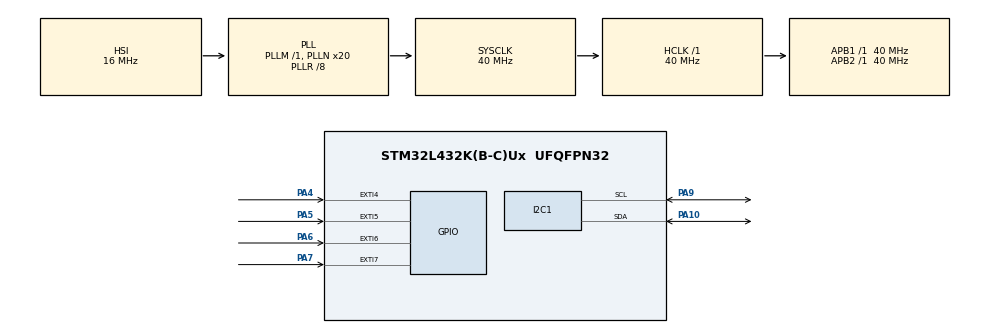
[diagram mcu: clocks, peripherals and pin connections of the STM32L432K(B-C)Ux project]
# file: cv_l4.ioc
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I2C1.Timing=0x00909BEB
Mcu.Family=STM32L4
Mcu.Name=STM32L432K(B-C)Ux
Mcu.Package=UFQFPN32
NVIC.EXTI4_IRQn=true\:0\:0\:false\:false\:true\:true\:true\:true
NVIC.EXTI9_5_IRQn=true\:0\:0\:false\:false\:true\:true\:true\:true
NVIC.PriorityGroup=NVIC_PRIORITYGROUP_4
PA0.Mode=HSE-External-Clock-Source-for-LittleOrca
PA0.Signal=RCC_CK_IN
PA10.Mode=I2C
PA10.Signal=I2C1_SDA
PA13\ (JTMS-SWDIO).Mode=Serial_Wire
PA13\ (JTMS-SWDIO).Signal=SYS_JTMS-SWDIO
PA14\ (JTCK-SWCLK).Mode=Serial_Wire
PA14\ (JTCK-SWCLK).Signal=SYS_JTCK-SWCLK
PA4.GPIO_ModeDefaultEXTI=GPIO_MODE_IT_FALLING
PA4.GPIO_PuPd=GPIO_PULLUP
PA4.Signal=GPXTI4
PA5.GPIO_ModeDefaultEXTI=GPIO_MODE_IT_FALLING
PA5.GPIO_PuPd=GPIO_PULLUP
PA5.Signal=GPXTI5
PA6.GPIO_ModeDefaultEXTI=GPIO_MODE_IT_FALLING
PA6.GPIO_PuPd=GPIO_PULLUP
PA6.Signal=GPXTI6
PA7.GPIO_ModeDefaultEXTI=GPIO_MODE_IT_FALLING
PA7.GPIO_PuPd=GPIO_PULLUP
PA7.Signal=GPXTI7
PA9.Mode=I2C
PA9.Signal=I2C1_SCL
ProjectManager.HeapSize=0x200
ProjectManager.StackSize=0x400
ProjectManager.TargetToolchain=STM32CubeIDE
RCC.ADCFreq_Value=64000000
RCC.AHBFreq_Value=40000000
RCC.APB1Freq_Value=40000000
RCC.APB1TimFreq_Value=40000000
RCC.APB2Freq_Value=40000000
RCC.APB2TimFreq_Value=40000000
RCC.CortexFreq_Value=40000000
RCC.HCLKFreq_Value=40000000
RCC.HSE_VALUE=8000000
RCC.HSI48_VALUE=48000000
RCC.HSI_VALUE=16000000
RCC.LSE_VALUE=32768
RCC.MSI_VALUE=4000000
RCC.PLLN=20
RCC.PLLR=RCC_PLLR_DIV8
RCC.PLLSourceVirtual=RCC_PLLSOURCE_HSI
RCC.SYSCLKFreq_VALUE=40000000
RCC.SYSCLKSource=RCC_SYSCLKSOURCE_PLLCLK
RCC.USBFreq_Value=64000000
RCC.VCOOutputFreq_Value=320000000
board=custom

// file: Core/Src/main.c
/* USER CODE BEGIN Header */
/**
 ******************************************************************************
 * @file           : main.c
 * @brief          : Main program body
 ******************************************************************************
 * @attention
 *
 * Copyright (c) 2023 STMicroelectronics.
 * All rights reserved.
 *
 * This software is licensed under terms that can be found in the LICENSE file
 * in the root directory of this software component.
 * If no LICENSE file comes with this software, it is provided AS-IS.
 *
 ******************************************************************************
 */
/* USER CODE END Header */
#include "main.h"

/* USER CODE BEGIN Includes */
#include "ssd1306.h"
#include "string.h"
/* USER CODE END Includes */

/* USER CODE BEGIN PM */
#define line(x) 8+8*(x)
#define MAX_LENGTH 20

//write in the middle
#define MIDDLE(x) (SSD1306_WIDTH/2)-(strlen(x)*6/2)

#define MIDDLE_TITLE(x) (SSD1306_WIDTH/2)-(strlen(x)*7/2)

//write from the end
#define END(x) SSD1306_WIDTH-(strlen(x)*6)

#define STATES \
		ENTITY(Idle,Idle_Function)\
		ENTITY(Start_Screen,Start_Screen_Function)\
		ENTITY(Main_Screen,Main_Screen_Function)\
		ENTITY(Coordinates_Screen,Coordinates_Screen_Function)\
		ENTITY(Skills_Screen,Skills_Screen_Function)\
		ENTITY(Languaes_Screen,Languaes_Screen_Function)\
		ENTITY(Projects_Screen,Projects_Screen_Function)\
		ENTITY(Diplomas_Screen,Diplomas_Screen_Function)\
		ENTITY(ProfessionalExperience_Screen,ProfessionalExperience_Screen_Function)

//write 2 words
#define PRINT2(l,a,b)\
		ssd1306_SetCursor(5,line(l));\
		ret=ssd1306_WriteString(a, Font_6x8, White);\
		ssd1306_SetCursor(END(b)-5,line(l));\
		ret=ssd1306_WriteString(b, Font_6x8, White);

//write 3 words
#define PRINT3(l,a,b,c)\
		ssd1306_SetCursor(0,line(l));\
		ret=ssd1306_WriteString(a, Font_6x8, White);\
		ssd1306_SetCursor(MIDDLE(b),line(l));\
		ret=ssd1306_WriteString(b, Font_6x8, White);\
		ssd1306_SetCursor(END(c),line(l));\
		ret=ssd1306_WriteString(c, Font_6x8, White);

/* USER CODE END PM */

I2C_HandleTypeDef hi2c1;

/* USER CODE BEGIN PV */
char str[]="";
char ret;

typedef enum{
#define ENTITY(x,y) x,
	STATES
#undef ENTITY
}States;

States Current_State=Idle;
uint8_t Number_of_states=0;
int8_t Choice=1;
/* USER CODE END PV */

void SystemClock_Config(void);
static void MX_GPIO_Init(void);
static void MX_I2C1_Init(void);
/* USER CODE BEGIN PFP */
void Idle_Function(void);
void Start_Screen_Function(void);
void Main_Screen_Function(void);
void Coordinates_Screen_Function(void);
void Skills_Screen_Function(void);
void Languaes_Screen_Function(void);
void Projects_Screen_Function(void);
void Diplomas_Screen_Function(void);
void ProfessionalExperience_Screen_Function(void);

/* USER CODE END PFP */

int main(void)
{

	/* MCU Configuration--------------------------------------------------------*/

	/* Reset of all peripherals, Initializes the Flash interface and the Systick. */
	HAL_Init();

	/* Configure the system clock */
	SystemClock_Config();

	/* Initialize all configured peripherals */
	MX_GPIO_Init();
	MX_I2C1_Init();
	/* USER CODE BEGIN 2 */
	ssd1306_Init();

#define ENTITY(x,y)  Number_of_states++;
	STATES
#undef ENTITY

	switch (Current_State){
#define ENTITY(x,y) case(x): { \
		y(); \
		if(HAL_GPIO_ReadPin(GPIOC,GPIO_PIN_13)==1) \
		Current_State=(Current_State+1)%Number_of_states; \
}\
break;
	STATES
#undef ENTITY
	default : {
		ssd1306_Fill(White);
		ssd1306_UpdateScreen();
	}
	}
	/* USER CODE END 2 */

	/* Infinite loop */
	/* USER CODE BEGIN WHILE */
	while (1)
	{switch (Current_State){
#define ENTITY(x,y) case(x): { \
		y(); \
}\
break;
	STATES
#undef ENTITY
	default : {
		ssd1306_Fill(White);
		ssd1306_UpdateScreen();
	}
	}
	/* USER CODE END WHILE */

	}
}

void SystemClock_Config(void)
{
	RCC_OscInitTypeDef RCC_OscInitStruct = {0};
	RCC_ClkInitTypeDef RCC_ClkInitStruct = {0};

	/** Configure the main internal regulator output voltage
	 */
	if (HAL_PWREx_ControlVoltageScaling(PWR_REGULATOR_VOLTAGE_SCALE1) != HAL_OK)
	{
		Error_Handler();
	}

	/** Initializes the RCC Oscillators according to the specified parameters
	 * in the RCC_OscInitTypeDef structure.
	 */
	RCC_OscInitStruct.OscillatorType = RCC_OSCILLATORTYPE_HSI;
	RCC_OscInitStruct.HSIState = RCC_HSI_ON;
	RCC_OscInitStruct.HSICalibrationValue = RCC_HSICALIBRATION_DEFAULT;
	RCC_OscInitStruct.PLL.PLLState = RCC_PLL_ON;
	RCC_OscInitStruct.PLL.PLLSource = RCC_PLLSOURCE_HSI;
	RCC_OscInitStruct.PLL.PLLM = 1;
	RCC_OscInitStruct.PLL.PLLN = 20;
	RCC_OscInitStruct.PLL.PLLP = RCC_PLLP_DIV7;
	RCC_OscInitStruct.PLL.PLLQ = RCC_PLLQ_DIV2;
	RCC_OscInitStruct.PLL.PLLR = RCC_PLLR_DIV8;
	if (HAL_RCC_OscConfig(&RCC_OscInitStruct) != HAL_OK)
	{
		Error_Handler();
	}

	/** Initializes the CPU, AHB and APB buses clocks
	 */
	RCC_ClkInitStruct.ClockType = RCC_CLOCKTYPE_HCLK|RCC_CLOCKTYPE_SYSCLK
			|RCC_CLOCKTYPE_PCLK1|RCC_CLOCKTYPE_PCLK2;
	RCC_ClkInitStruct.SYSCLKSource = RCC_SYSCLKSOURCE_PLLCLK;
	RCC_ClkInitStruct.AHBCLKDivider = RCC_SYSCLK_DIV1;
	RCC_ClkInitStruct.APB1CLKDivider = RCC_HCLK_DIV1;
	RCC_ClkInitStruct.APB2CLKDivider = RCC_HCLK_DIV1;

	if (HAL_RCC_ClockConfig(&RCC_ClkInitStruct, FLASH_LATENCY_2) != HAL_OK)
	{
		Error_Handler();
	}
}

static void MX_I2C1_Init(void)
{

	hi2c1.Instance = I2C1;
	hi2c1.Init.Timing = 0x00909BEB;
	hi2c1.Init.OwnAddress1 = 0;
	hi2c1.Init.AddressingMode = I2C_ADDRESSINGMODE_7BIT;
	hi2c1.Init.DualAddressMode = I2C_DUALADDRESS_DISABLE;
	hi2c1.Init.OwnAddress2 = 0;
	hi2c1.Init.OwnAddress2Masks = I2C_OA2_NOMASK;
	hi2c1.Init.GeneralCallMode = I2C_GENERALCALL_DISABLE;
	hi2c1.Init.NoStretchMode = I2C_NOSTRETCH_DISABLE;
	if (HAL_I2C_Init(&hi2c1) != HAL_OK)
	{
		Error_Handler();
	}

	/** Configure Analogue filter
	 */
	if (HAL_I2CEx_ConfigAnalogFilter(&hi2c1, I2C_ANALOGFILTER_ENABLE) != HAL_OK)
	{
		Error_Handler();
	}

	/** Configure Digital filter
	 */
	if (HAL_I2CEx_ConfigDigitalFilter(&hi2c1, 0) != HAL_OK)
	{
		Error_Handler();
	}

}

static void MX_GPIO_Init(void)
{
	GPIO_InitTypeDef GPIO_InitStruct = {0};

	/* GPIO Ports Clock Enable */
	__HAL_RCC_GPIOA_CLK_ENABLE();

	/*Configure GPIO pins : PA4 PA5 PA6 PA7 */
	GPIO_InitStruct.Pin = GPIO_PIN_4|GPIO_PIN_5|GPIO_PIN_6|GPIO_PIN_7;
	GPIO_InitStruct.Mode = GPIO_MODE_IT_FALLING;
	GPIO_InitStruct.Pull = GPIO_PULLUP;
	HAL_GPIO_Init(GPIOA, &GPIO_InitStruct);

	/* EXTI interrupt init*/
	HAL_NVIC_SetPriority(EXTI4_IRQn, 0, 0);
	HAL_NVIC_EnableIRQ(EXTI4_IRQn);

	HAL_NVIC_SetPriority(EXTI9_5_IRQn, 0, 0);
	HAL_NVIC_EnableIRQ(EXTI9_5_IRQn);

}

/* USER CODE BEGIN 4 */
void Idle_Function(void)
{
	ssd1306_Fill(White);
	ssd1306_UpdateScreen();
}

void Start_Screen_Function(void)
{
	ssd1306_Fill(Black);
	//------------Title---------------//
	ssd1306_SetCursor(MIDDLE_TITLE("Med Taher Bazzazi"),0);
	ret=ssd1306_WriteString("Med Taher Bazzazi", Font_7x10, White);
	//------------body---------------//
	ssd1306_SetCursor(MIDDLE("Bonjouur"),line(1));
	ret=ssd1306_WriteString("Bonjouur", Font_6x8, White);
	ssd1306_SetCursor(MIDDLE("C'est mon CV"),line(2));
	ret=ssd1306_WriteString("C'est mon CV", Font_6x8, White);
	ssd1306_SetCursor(MIDDLE("j'espere que"),line(3));
	ret=ssd1306_WriteString("j'espere que", Font_6x8, White);
	ssd1306_SetCursor(MIDDLE("vous l'aimez"),line(4));
	ret=ssd1306_WriteString("vous l'aimez", Font_6x8, White);
	ssd1306_SetCursor(END(":)"),line(5));
	ret=ssd1306_WriteString(":)", Font_6x8, White);
	ssd1306_UpdateScreen();
}

void Main_Screen_Function(void){
	ssd1306_Fill(Black);
	//------------Title---------------//
	ssd1306_SetCursor(MIDDLE_TITLE("Menu principale"),0);
	ret=ssd1306_WriteString("Menu principale", Font_7x10, White);
	//------------body---------------//
	ssd1306_SetCursor(7,line(1));
	ret=ssd1306_WriteString("Coordonnees", Font_6x8, White);
	ssd1306_SetCursor(7,line(2));
	ret=ssd1306_WriteString("Competences", Font_6x8, White);
	ssd1306_SetCursor(7,line(3));
	ret=ssd1306_WriteString("Langues", Font_6x8, White);
	ssd1306_SetCursor(7,line(4));
	ret=ssd1306_WriteString("Projets", Font_6x8, White);
	ssd1306_SetCursor(7,line(5));
	ret=ssd1306_WriteString("Formation", Font_6x8, White);
	ssd1306_SetCursor(7,line(6));
	ret=ssd1306_WriteString("Experience Pro.", Font_6x8, White);

	ssd1306_SetCursor(0,line(Choice));
	ret=ssd1306_WriteString("-", Font_6x8, White);
	ssd1306_UpdateScreen();
}
void Coordinates_Screen_Function(void)
{
	ssd1306_Fill(Black);
	//------------Title---------------//
	ssd1306_SetCursor(MIDDLE_TITLE("Coordonnees"),0);
	ret=ssd1306_WriteString("Coordonnees", Font_7x10, White);
	//------------body---------------//
	ssd1306_SetCursor(0,line(1));
	ret=ssd1306_WriteString("taher.bazzazi@ieeeorg", Font_6x8, White);
	ssd1306_SetCursor(0,line(2));
	ret=ssd1306_WriteString("LinkedIn:mohamed-tahe", Font_6x8, White);
	ssd1306_SetCursor(MIDDLE("r-bazzazi-408395204"),line(3));
	ret=ssd1306_WriteString("r-bazzazi-408395204", Font_6x8, White);
	ssd1306_SetCursor(MIDDLE("Nancy (54000)"),line(4));
	ret=ssd1306_WriteString("Nancy (54000)", Font_6x8, White);
	ssd1306_SetCursor(MIDDLE("+33 7 57 67 96 07"),line(5));
	ret=ssd1306_WriteString("+33 7 57 67 96 07", Font_6x8, White);
	ssd1306_SetCursor(MIDDLE("22/04/1999"),line(6));
	ret=ssd1306_WriteString("22/04/1999", Font_6x8, White);

	ssd1306_UpdateScreen();
}
void Skills_Screen_Function(void){
	ssd1306_Fill(Black);
	//------------Title---------------//
	ssd1306_SetCursor(MIDDLE_TITLE("Competences"),0);
	ret=ssd1306_WriteString("Competences", Font_7x10, White);
	//------------body---------------//

	PRINT3(1,"C","C++","VHDL");

	PRINT3(4,"Jave","Python","Rust");

	PRINT2(2,"STM32","RaspberryPi");

	ssd1306_SetCursor(MIDDLE("Arduino"),line(3));
	ret=ssd1306_WriteString("Arduino", Font_6x8, White);

	PRINT2(5,"Matlab","Simulink");

	ssd1306_SetCursor(MIDDLE("Git/Github"),line(6));
	ret=ssd1306_WriteString("Git/Github", Font_6x8, White);

	ssd1306_UpdateScreen();
}
void Languaes_Screen_Function(void){
	ssd1306_Fill(Black);
	//------------Title---------------//
	ssd1306_SetCursor(MIDDLE_TITLE("Langues"),0);
	ret=ssd1306_WriteString("Langues", Font_7x10, White);
	//------------body---------------//
	ssd1306_SetCursor(MIDDLE("Francais"),line(2));
	ret=ssd1306_WriteString("Francais", Font_6x8, White);
	ssd1306_SetCursor(MIDDLE("Anglais"),line(3));
	ret=ssd1306_WriteString("Anglais", Font_6x8, White);
	ssd1306_SetCursor(MIDDLE("Arabe"),line(4));
	ret=ssd1306_WriteString("Arabe", Font_6x8, White);
	ssd1306_SetCursor(MIDDLE("Allemand"),line(5));
	ret=ssd1306_WriteString("Allemand", Font_6x8, White);

	ssd1306_UpdateScreen();
}
void Projects_Screen_Function(void){
	ssd1306_Fill(Black);
	//------------Title---------------//
	ssd1306_SetCursor(MIDDLE_TITLE("Projets"),0);
	ret=ssd1306_WriteString("Projets", Font_7x10, White);
	//------------body---------------//
	ssd1306_SetCursor(7,line(1));
	ret=ssd1306_WriteString("EUROBOT", Font_6x8, White);
	ssd1306_SetCursor(7,line(2));
	ret=ssd1306_WriteString("Systeme VTOL", Font_6x8, White);
	ssd1306_SetCursor(7,line(3));
	ret=ssd1306_WriteString("Twizzy", Font_6x8, White);
	ssd1306_SetCursor(7,line(4));
	ret=ssd1306_WriteString("Bras Robotique", Font_6x8, White);
	ssd1306_SetCursor(7,line(5));
	ret=ssd1306_WriteString("Not Zedla", Font_6x8, White);
	ssd1306_SetCursor(7,line(6));
	ret=ssd1306_WriteString("Ce projet :)", Font_6x8, White);

	ssd1306_UpdateScreen();
}

void Diplomas_Screen_Function(void)
{
	ssd1306_Fill(Black);
	//------------Title---------------//
	ssd1306_SetCursor(MIDDLE_TITLE("Formation"),0);
	ret=ssd1306_WriteString("Formation", Font_7x10, White);
	//------------body---------------//
	ssd1306_SetCursor(MIDDLE("ENSEM Nancy: Ing."),line(1));
	ret=ssd1306_WriteString("ENSEM Nancy: Ing.", Font_6x8, White);
	ssd1306_SetCursor(0,line(2));
	ret=ssd1306_WriteString("en Sys. Numeriques", Font_6x8, White);
	ssd1306_SetCursor(MIDDLE("INSAT Tunis: Ing."),line(3));
	ret=ssd1306_WriteString("INSAT Tunis: Ing.", Font_6x8, White);
	ssd1306_SetCursor(0,line(4));
	ret=ssd1306_WriteString("Info Indus. & Auto", Font_6x8, White);
	ssd1306_SetCursor(MIDDLE("INSAT Tunis: Prep."),line(5));
	ret=ssd1306_WriteString("INSAT Tunis: Prep.", Font_6x8, White);
	ssd1306_SetCursor(0,line(6));
	ret=ssd1306_WriteString("Math. Phy. Info.", Font_6x8, White);

	ssd1306_UpdateScreen();
}
void ProfessionalExperience_Screen_Function(void)
{
	ssd1306_Fill(Black);
	//------------Title---------------//
	ssd1306_SetCursor(MIDDLE_TITLE("Experience Pro."),0);
	ret=ssd1306_WriteString("Experience Pro.", Font_7x10, White);
	//------------body---------------//
	ssd1306_SetCursor(MIDDLE("STAGE EN GS2I"),line(1));
	ret=ssd1306_WriteString("STAGE EN GS2I", Font_6x8, White);

	PRINT2(2,"S7-1200","Modbus");

	PRINT2(3,"TIA Portal","Python");

	ssd1306_SetCursor(MIDDLE("RaspberyPi"),line(4));
	ret=ssd1306_WriteString("RaspberyPi", Font_6x8, White);

	ssd1306_SetCursor(MIDDLE("STAGE EN SGEA"),line(5));
	ret=ssd1306_WriteString("STAGE EN SGEA", Font_6x8, White);

	PRINT2(6,"Automate","Indus.");

	ssd1306_UpdateScreen();
}

void HAL_GPIO_EXTI_Callback(uint16_t GPIO_Pin){
	//if (HAL_GPIO_ReadPin(GPIOA,GPIO_PIN_7) == GPIO_PIN_RESET)	//SW4
	//	Current_State=(Current_State+1)%Number_of_states;
	if (HAL_GPIO_ReadPin(GPIOA,GPIO_PIN_4) == GPIO_PIN_RESET)	//SW1
		Current_State=Main_Screen;
	if ((Current_State== Main_Screen) && (HAL_GPIO_ReadPin(GPIOA,GPIO_PIN_5)) == GPIO_PIN_RESET)	//SW2
		Choice=1+((Choice)%6);

	if ((Current_State== Main_Screen) && (HAL_GPIO_ReadPin(GPIOA,GPIO_PIN_6)) == GPIO_PIN_RESET)	//SW3
		Choice=1+(4+Choice)%6;

	if (HAL_GPIO_ReadPin(GPIOA,GPIO_PIN_7) == GPIO_PIN_RESET)	//SW4
		Current_State=(Choice)+Main_Screen;

}

/* USER CODE END 4 */

void Error_Handler(void)
{
	__disable_irq();
	while (1)
	{
	}
}
